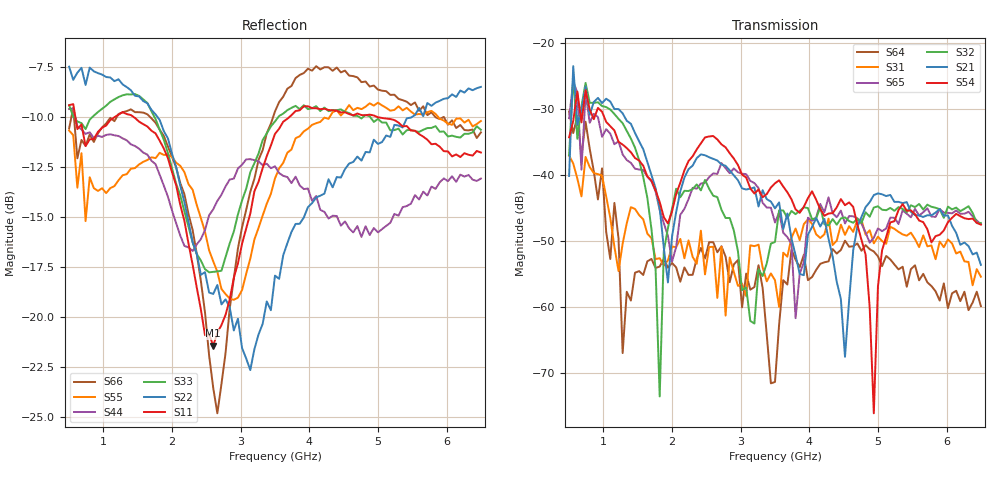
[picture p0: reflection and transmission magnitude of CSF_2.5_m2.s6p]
!Keysight Technologies,M9804A,MY58100912,A.14.10.03
!Date: Thursday, April 27, 2023 10:28:33
!Correction: S11(C  6-Port  )
!S12(C  6-Port  )
!S13(C  6-Port  )
!S14(C  6-Port  )
!S15(C  6-Port  )
!S16(C  6-Port  )
!S21(C  6-Port  )
!S22(C  6-Port  )
!S23(C  6-Port  )
!S24(C  6-Port  )
!S25(C  6-Port  )
!S26(C  6-Port  )
!S31(C  6-Port  )
!S32(C  6-Port  )
!S33(C  6-Port  )
!S34(C  6-Port  )
!S35(C  6-Port  )
!S36(C  6-Port  )
!S41(C  6-Port  )
!S42(C  6-Port  )
!S43(C  6-Port  )
!S44(C  6-Port  )
!S45(C  6-Port  )
!S46(C  6-Port  )
!S51(C  6-Port  )
!S52(C  6-Port  )
!S53(C  6-Port  )
!S54(C  6-Port  )
!S55(C  6-Port  )
!S56(C  6-Port  )
!S61(C  6-Port  )
!S62(C  6-Port  )
!S63(C  6-Port  )
!S64(C  6-Port  )
!S65(C  6-Port  )
!S66(C  6-Port  )
!S6P File: Measurement: :
# Hz S  RI  R 50
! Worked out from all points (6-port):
!   101 points, 500 MHz to 6.5 GHz, reference 50 ohm
!   strongest paths, dB at 500 MHz, 2 GHz, 3.5 GHz, 5 GHz, 6.5 GHz:
!     S54: -34.3, -45.5, -41.3, -56.9, -47.5
!     S21: -40.1, -49.3, -45.0, -42.8, -53.6
!     S32: -37.0, -45.1, -50.1, -44.7, -47.2
!     S65: -31.4, -53.1, -47.2, -48.1, -47.4
!     S31: -37.1, -50.8, -55.9, -49.3, -55.4
!     S64: -30.4, -53.3, -71.3, -52.3, -59.8
!   lowest |S11| = -21.4 dB at 2.6 GHz (marker M1), VSWR 1.19, Z = 42.5 + j2.2 ohm
!   |S11| at or under -10 dB: 589.9 MHz to 1.175 GHz (584.7 MHz wide, 66.3 % of centre); 1.432 GHz to 3.717 GHz (2.285 GHz wide, 88.8 % of centre); 4.978 GHz to end of sweep
